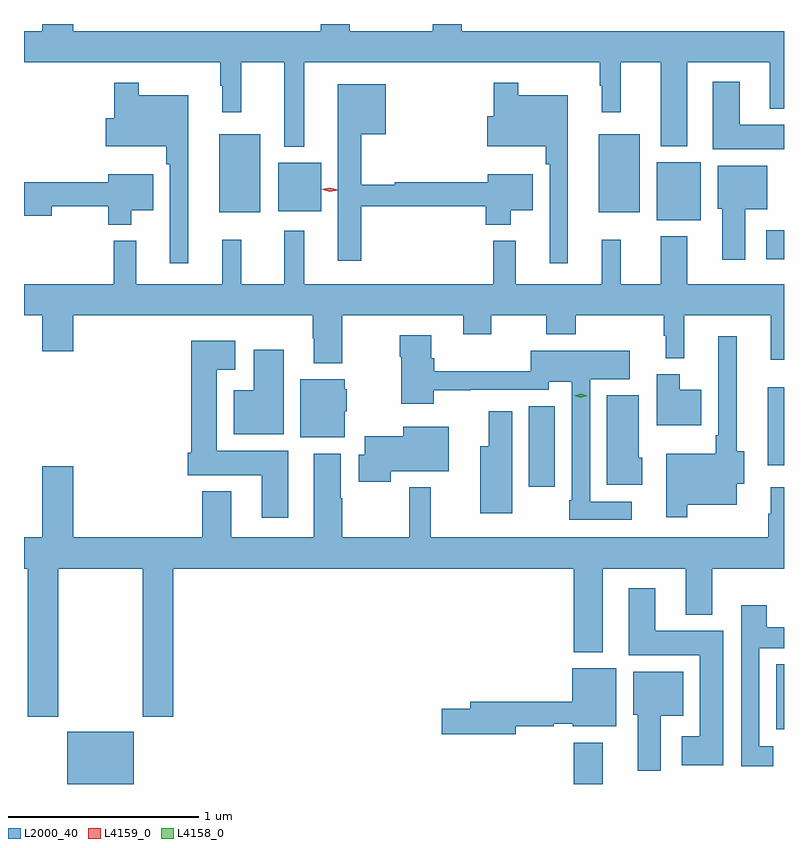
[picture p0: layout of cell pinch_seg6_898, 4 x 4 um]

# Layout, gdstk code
import gdstk
lib = gdstk.Library(unit=1e-6, precision=1e-09)
def R(c, l, rs):  # rectangles x0, y0, x1, y1
    for r in rs: c.add(gdstk.rectangle(r[:2], r[2:], *l))
def P(c, l, *ps):  # polygons
    for p in ps: c.add(gdstk.Polygon(p, *l))
L2000_40 = (2000, 40)
L4158_0 = (4158, 0)
L4159_0 = (4159, 0)

pinch_seg6_898 = lib.new_cell('pinch_seg6_898')
R(pinch_seg6_898, L2000_40, [(308.996,926.222,309.346,926.497), (311.663,926.222,311.815,926.44), (312.728,926.509,312.769,926.852), (311.426,927.786,311.563,928.211), (312.683,927.899,312.769,928.309), (312.675,928.985,312.769,929.137), (312.098,929.189,312.331,929.494), (309.797,929.231,310.012,929.641), (311.795,929.231,312.01,929.641), (310.106,929.237,310.333,929.491)])
P(pinch_seg6_898, L2000_40, [(310.243,930.02),(311.799,930.02),(311.799,929.897),(311.81,929.897),(311.81,929.757),(311.909,929.757),(311.909,930.02),(312.119,930.02),(312.119,929.579),(312.259,929.579),(312.259,930.02),(312.695,930.02),(312.695,929.777),(312.769,929.777),(312.769,930.184),(311.072,930.184),(311.072,930.222),(310.919,930.222),(310.919,930.184),(310.483,930.184),(310.483,930.222),(310.331,930.222),(310.331,930.184),(309.028,930.184),(309.028,930.222),(308.864,930.222),(308.864,930.184),(308.769,930.184),(308.769,930.02),(309.801,930.02),(309.801,929.897),(309.812,929.897),(309.812,929.757),(309.912,929.757),(309.912,930.02),(310.139,930.02),(310.139,929.576),(310.243,929.576)],
  [(312.769,929.692),(312.535,929.692),(312.535,929.917),(312.395,929.917),(312.395,929.564),(312.769,929.564)],
  [(309.634,929.848),(309.373,929.848),(309.373,929.914),(309.244,929.914),(309.244,929.727),(309.2,929.727),(309.2,929.579),(309.517,929.579),(309.517,929.483),(309.537,929.483),(309.537,928.962),(309.634,928.962)],
  [(311.632,929.848),(311.371,929.848),(311.371,929.914),(311.242,929.914),(311.242,929.737),(311.208,929.737),(311.208,929.579),(311.515,929.579),(311.515,929.483),(311.535,929.483),(311.535,928.962),(311.632,928.962)],
  [(310.543,929.262),(311.198,929.262),(311.198,929.165),(311.332,929.165),(311.332,929.243),(311.446,929.243),(311.446,929.431),(311.21,929.431),(311.21,929.39),(310.721,929.39),(310.721,929.375),(310.543,929.375),(310.543,929.642),(310.672,929.642),(310.672,929.905),(310.421,929.905),(310.421,928.977),(310.543,928.977)],
  [(312.565,929.246),(312.682,929.246),(312.682,929.476),(312.419,929.476),(312.419,929.25),(312.443,929.25),(312.443,928.98),(312.565,928.98)],
  [(309.334,929.243),(309.448,929.243),(309.448,929.431),(309.212,929.431),(309.212,929.39),(308.769,929.39),(308.769,929.212),(308.914,929.212),(308.914,929.262),(309.212,929.262),(309.212,929.165),(309.334,929.165)],
  [(310.243,929.134),(310.139,929.134),(310.139,928.852),(309.912,928.852),(309.912,929.086),(309.812,929.086),(309.812,928.852),(309.359,928.852),(309.359,929.08),(309.241,929.08),(309.241,928.852),(308.769,928.852),(308.769,928.688),(308.864,928.688),(308.864,928.5),(309.028,928.5),(309.028,928.688),(310.288,928.688),(310.288,928.568),(310.295,928.568),(310.295,928.436),(310.443,928.436),(310.443,928.688),(311.081,928.688),(311.081,928.589),(311.229,928.589),(311.229,928.688),(311.518,928.688),(311.518,928.589),(311.673,928.589),(311.673,928.688),(312.135,928.688),(312.135,928.581),(312.146,928.581),(312.146,928.463),(312.245,928.463),(312.245,928.688),(312.698,928.688),(312.698,928.455),(312.769,928.455),(312.769,928.852),(312.259,928.852),(312.259,929.104),(312.119,929.104),(312.119,928.852),(311.909,928.852),(311.909,929.086),(311.81,929.086),(311.81,928.852),(311.357,928.852),(311.357,929.08),(311.239,929.08),(311.239,928.852),(310.243,928.852)],
  [(311.968,927.708),(311.748,927.708),(311.748,928.352),(311.956,928.352),(311.956,928.501),(311.436,928.501),(311.436,928.394),(310.927,928.394),(310.927,928.464),(310.912,928.464),(310.912,928.585),(310.747,928.585),(310.747,928.472),(310.754,928.472),(310.754,928.224),(310.925,928.224),(310.925,928.295),(311.12,928.295),(311.12,928.296),(311.532,928.296),(311.532,928.34),(311.652,928.34),(311.652,927.715),(311.64,927.715),(311.64,927.612),(311.968,927.612)],
  [(312.259,927.692),(312.52,927.692),(312.52,927.803),(312.559,927.803),(312.559,927.974),(312.52,927.974),(312.52,928.579),(312.423,928.579),(312.423,928.057),(312.411,928.057),(312.411,927.961),(312.15,927.961),(312.15,927.627),(312.259,927.627)],
  [(310.159,927.976),(309.784,927.976),(309.784,928.403),(309.88,928.403),(309.88,928.555),(309.65,928.555),(309.65,927.966),(309.632,927.966),(309.632,927.848),(310.019,927.848),(310.019,927.624),(310.159,927.624)],
  [(310.135,928.507),(309.977,928.507),(309.977,928.294),(309.872,928.294),(309.872,928.064),(310.135,928.064)],
  [(312.334,928.297),(312.22,928.297),(312.22,928.378),(312.098,928.378),(312.098,928.109),(312.334,928.109)],
  [(310.456,928.185),(310.468,928.185),(310.468,928.299),(310.456,928.299),(310.456,928.351),(310.223,928.351),(310.223,928.046),(310.456,928.046)],
  [(312.022,927.939),(312.004,927.939),(312.004,928.267),(311.837,928.267),(311.837,927.797),(312.022,927.797)],
  [(311.338,928.183),(311.216,928.183),(311.216,928),(311.171,928),(311.171,927.648),(311.338,927.648)],
  [(310.698,927.869),(311.005,927.869),(311.005,928.102),(310.766,928.102),(310.766,928.051),(310.562,928.051),(310.562,927.956),(310.532,927.956),(310.532,927.814),(310.698,927.814)],
  [(308.949,927.356),(309.394,927.356),(309.394,926.577),(309.554,926.577),(309.554,927.356),(311.663,927.356),(311.663,926.915),(311.815,926.915),(311.815,927.356),(312.251,927.356),(312.251,927.113),(312.391,927.113),(312.391,927.356),(312.769,927.356),(312.769,927.784),(312.698,927.784),(312.698,927.644),(312.687,927.644),(312.687,927.52),(310.91,927.52),(310.91,927.784),(310.797,927.784),(310.797,927.52),(310.443,927.52),(310.443,927.725),(310.435,927.725),(310.435,927.961),(310.295,927.961),(310.295,927.52),(309.859,927.52),(309.859,927.763),(309.707,927.763),(309.707,927.52),(309.028,927.52),(309.028,927.895),(308.864,927.895),(308.864,927.52),(308.769,927.52),(308.769,927.356),(308.789,927.356),(308.789,926.577),(308.949,926.577)],
  [(312.448,927.028),(312.091,927.028),(312.091,927.253),(311.951,927.253),(311.951,926.9),(312.326,926.9),(312.326,926.473),(312.231,926.473),(312.231,926.321),(312.448,926.321)],
  [(312.712,926.421),(312.639,926.421),(312.639,926.937),(312.769,926.937),(312.769,927.046),(312.679,927.046),(312.679,927.163),(312.543,927.163),(312.543,926.316),(312.712,926.316)],
  [(311.356,926.526),(311.558,926.526),(311.558,926.538),(311.658,926.538),(311.658,926.525),(311.887,926.525),(311.887,926.83),(311.654,926.83),(311.654,926.654),(311.117,926.654),(311.117,926.618),(310.968,926.618),(310.968,926.483),(311.356,926.483)],
  [(312.121,926.582),(312.238,926.582),(312.238,926.812),(311.975,926.812),(311.975,926.586),(311.999,926.586),(311.999,926.292),(312.121,926.292)])
P(pinch_seg6_898, L4158_0, [(311.699,928.256),(311.665,928.265),(311.664,928.265),(311.665,928.265),(311.699,928.276),(311.734,928.266),(311.734,928.266),(311.734,928.266)])
P(pinch_seg6_898, L4159_0, [(310.378,929.34),(310.337,929.352),(310.337,929.352),(310.337,929.352),(310.379,929.36),(310.419,929.349),(310.419,929.348),(310.419,929.348)])

lib.write_gds('pinch_seg6_898.gds')
